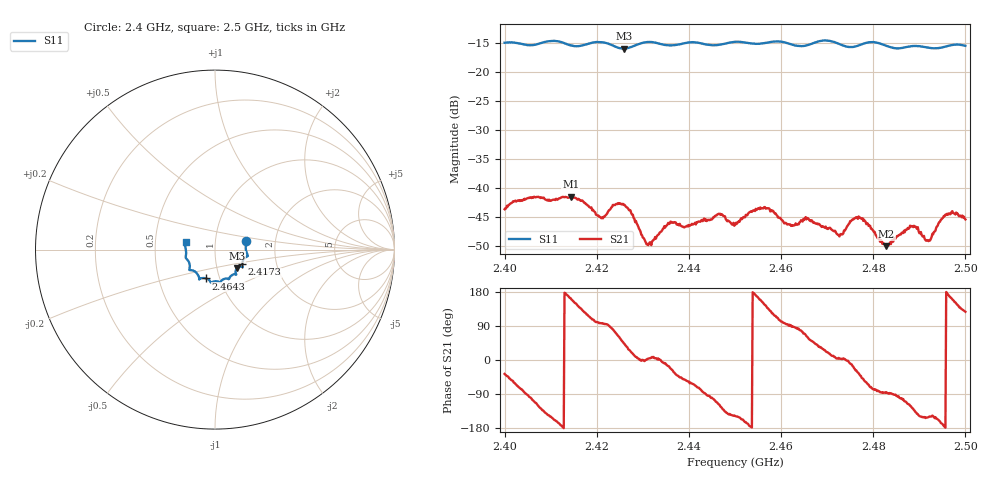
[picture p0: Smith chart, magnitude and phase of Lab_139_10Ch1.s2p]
# Hz S RI R 50
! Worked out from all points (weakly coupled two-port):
!   601 points, 2.4 GHz to 2.5 GHz, reference 50 ohm
!   highest |S21| = -41.53 dB at 2.4143 GHz (marker M1); lowest = -50.1 dB at 2.4828 GHz (marker M2)
!   lowest |S11| = -15.9 dB at 2.4258 GHz (marker M3), VSWR 1.38, Z = 62.3 - j13.3 ohm
!   |S11| at or under -10 dB: start of sweep to end of sweep
!   S12 and S22 are empty: the file has one direction only
!   S11 on the Smith chart (normalised r, x): 2.4 GHz: 1.41, +0.14; 2.4173 GHz: 1.34, -0.22; 2.4643 GHz: 0.86, -0.29; 2.5 GHz: 0.72, +0.06
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2.4e9  0.1734 0.0491  0.00523 -0.0039  0 0  0 0
2.414333e9  0.1635 -0.0493  -0.00803 0.00243  0 0  0 0
2.416667e9  0.1529 -0.0742  -0.00544 0.0055  0 0  0 0
2.417333e9  0.1521 -0.0816  -0.00432 0.00598  0 0  0 0
2.421e9  0.1543 -0.0971  -0.000629 0.00541  0 0  0 0
2.425833e9  0.1219 -0.1038  0.00504 0.005  0 0  0 0
2.430833e9  0.1186 -0.1388  0.00323 5.02e-05  0 0  0 0
2.433333e9  0.1127 -0.1375  0.00391 0.000275  0 0  0 0
2.436e9  0.0941 -0.1428  0.00471 -0.00193  0 0  0 0
2.446667e9  0.0426 -0.1677  -0.00283 -0.00517  0 0  0 0
2.45e9  0.0287 -0.1813  -0.00404 -0.00256  0 0  0 0
2.456e9  -0.00682 -0.1775  -0.00591 0.00307  0 0  0 0
2.464333e9  -0.0497 -0.1608  0.0011 0.00512  0 0  0 0
2.466667e9  -0.076 -0.1594  0.00333 0.00403  0 0  0 0
2.472833e9  -0.0908 -0.1488  0.00394 0.000222  0 0  0 0
2.477167e9  -0.1283 -0.1155  0.00415 -0.00363  0 0  0 0
2.482833e9  -0.1404 -0.095  0.000281 -0.00311  0 0  0 0
2.483333e9  -0.1405 -0.0898  7.52e-05 -0.00317  0 0  0 0
2.4885e9  -0.1617 -0.0477  -0.00282 -0.0037  0 0  0 0
2.492e9  -0.1611 -0.0257  -0.00302 -0.00168  0 0  0 0
2.496833e9  -0.1693 0.026  -0.00573 0.00163  0 0  0 0
2.5e9  -0.1638 0.043  -0.00323 0.00423  0 0  0 0
